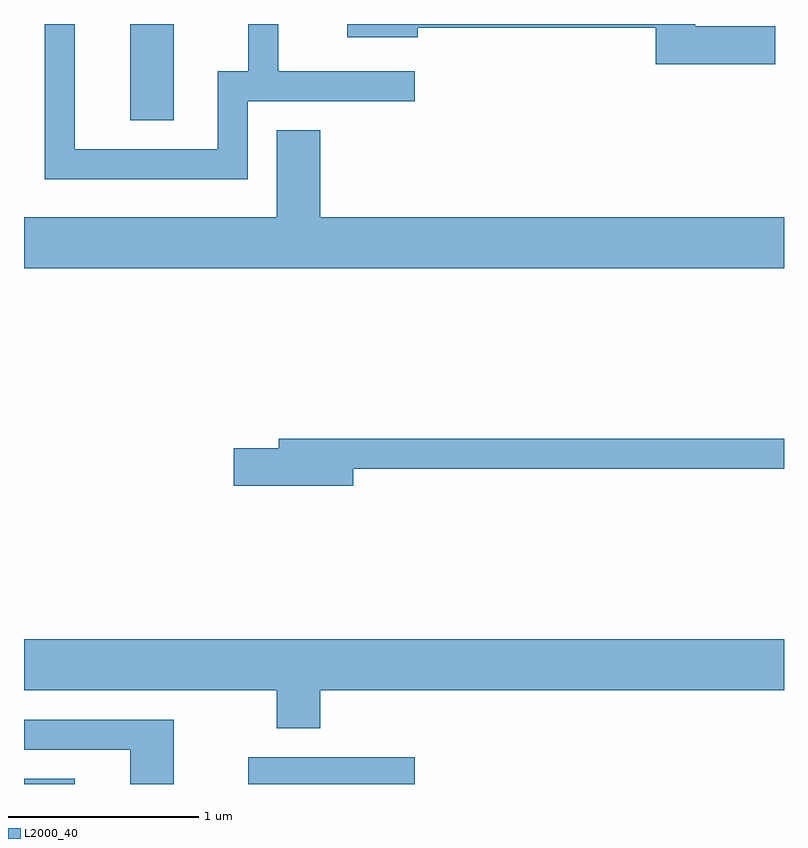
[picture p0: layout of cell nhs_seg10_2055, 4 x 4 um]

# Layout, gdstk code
import gdstk
lib = gdstk.Library(unit=1e-6, precision=1e-09)
def R(c, l, rs):  # rectangles x0, y0, x1, y1
    for r in rs: c.add(gdstk.rectangle(r[:2], r[2:], *l))
def P(c, l, *ps):  # polygons
    for p in ps: c.add(gdstk.Polygon(p, *l))
L2000_40 = (2000, 40)

nhs_seg10_2055 = lib.new_cell('nhs_seg10_2055')
R(nhs_seg10_2055, L2000_40, [(245.611,2124.522,245.879,2124.549), (246.791,2124.522,247.668,2124.664), (246.171,2128.016,246.399,2128.522)])
P(nhs_seg10_2055, L2000_40, [(246.789,2128.116),(247.668,2128.116),(247.668,2128.274),(246.949,2128.274),(246.949,2128.522),(246.791,2128.522),(246.791,2128.274),(246.631,2128.274),(246.631,2127.864),(245.879,2127.864),(245.879,2128.522),(245.721,2128.522),(245.721,2127.706),(246.789,2127.706)],
  [(249.564,2128.509),(249.144,2128.509),(249.144,2128.522),(247.311,2128.522),(247.311,2128.451),(247.684,2128.451),(247.684,2128.501),(248.936,2128.501),(248.936,2128.311),(249.564,2128.311)],
  [(249.611,2127.504),(247.169,2127.504),(247.169,2127.964),(246.941,2127.964),(246.941,2127.504),(245.611,2127.504),(245.611,2127.236),(249.611,2127.236)],
  [(247.344,2126.181),(249.611,2126.181),(249.611,2126.339),(246.951,2126.339),(246.951,2126.289),(246.716,2126.289),(246.716,2126.091),(247.344,2126.091)],
  [(247.169,2125.016),(249.611,2125.016),(249.611,2125.284),(245.611,2125.284),(245.611,2125.016),(246.941,2125.016),(246.941,2124.816),(247.169,2124.816)],
  [(246.399,2124.859),(245.611,2124.859),(245.611,2124.701),(246.171,2124.701),(246.171,2124.522),(246.399,2124.522)])

lib.write_gds('nhs_seg10_2055.gds')
